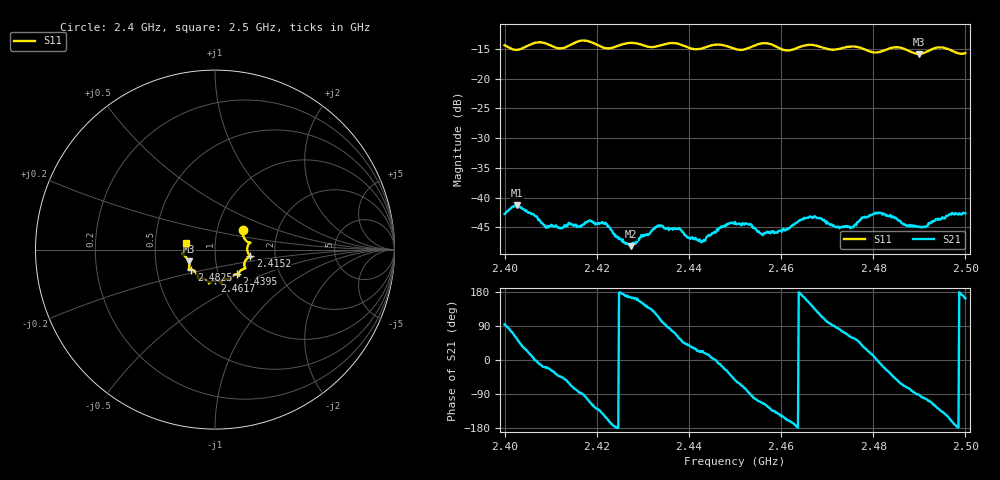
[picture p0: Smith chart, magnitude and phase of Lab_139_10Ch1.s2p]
# Hz S RI R 50
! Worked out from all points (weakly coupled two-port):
!   601 points, 2.4 GHz to 2.5 GHz, reference 50 ohm
!   highest |S21| = -41.27 dB at 2.4027 GHz (marker M1); lowest = -48.1 dB at 2.4273 GHz (marker M2)
!   lowest |S11| = -15.9 dB at 2.4898 GHz (marker M3), VSWR 1.38, Z = 36.9 - j4.91 ohm
!   |S11| at or under -10 dB: start of sweep to end of sweep
!   S12 and S22 are empty: the file has one direction only
!   S11 on the Smith chart (normalised r, x): 2.4 GHz: 1.33, +0.30; 2.4152 GHz: 1.48, -0.11; 2.4395 GHz: 1.22, -0.35; 2.4617 GHz: 0.94, -0.33; 2.4825 GHz: 0.75, -0.17; 2.5 GHz: 0.72, +0.05
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2.4e9  0.1557 0.1095  -0.000506 0.00729  0 0  0 0
2.402667e9  0.1609 0.0666  0.00485 0.00715  0 0  0 0
2.409e9  0.1935 0.0366  0.00521 -0.00197  0 0  0 0
2.412167e9  0.1793 0.000925  0.004 -0.00383  0 0  0 0
2.415167e9  0.1961 -0.0366  0.00145 -0.00573  0 0  0 0
2.416667e9  0.204 -0.0421  0.00032 -0.00587  0 0  0 0
2.421667e9  0.1711 -0.0582  -0.00509 -0.00328  0 0  0 0
2.427333e9  0.1704 -0.1036  -0.00379 0.000984  0 0  0 0
2.433333e9  0.1328 -0.1325  -0.00244 0.0053  0 0  0 0
2.4395e9  0.1226 -0.1377  0.00351 0.00319  0 0  0 0
2.443e9  0.0911 -0.1554  0.00393 0.00171  0 0  0 0
2.45e9  0.067 -0.1644  0.00377 -0.005  0 0  0 0
2.456e9  0.0381 -0.1942  -0.00201 -0.00441  0 0  0 0
2.461667e9  0.000675 -0.172  -0.00517 -0.00189  0 0  0 0
2.466667e9  -0.034 -0.1887  -0.00547 0.00409  0 0  0 0
2.475167e9  -0.0923 -0.1615  0.00278 0.0049  0 0  0 0
2.478e9  -0.0976 -0.1474  0.00569 0.00376  0 0  0 0
2.4825e9  -0.1326 -0.111  0.0068 -0.00264  0 0  0 0
2.483333e9  -0.1398 -0.1101  0.006 -0.00361  0 0  0 0
2.489833e9  -0.1473 -0.0649  -0.000144 -0.0057  0 0  0 0
2.4945e9  -0.1812 -0.0226  -0.00445 -0.00481  0 0  0 0
2.5e9  -0.1598 0.0352  -0.00704 0.00223  0 0  0 0
